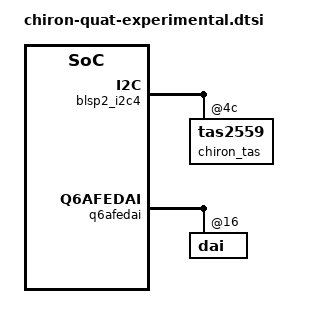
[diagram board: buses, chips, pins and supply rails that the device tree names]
// SPDX-License-Identifier: GPL-2.0-only
/* Speaker link (QUAT MI2S -> TAS2559/TAS2560), appended to the Chiron DTS by
 * scripts/build_kernel.sh since 2026-11-01 (playback, seeking and the volume
 * keys checked on the phone). It needs the TAS playback component
 * (kernel/tas2559, controlled_playback=1, see overlay/etc/modprobe.d): the
 * programming-only diagnostic publishes none, and with that driver this
 * fragment would defer the whole sound card.
 */
&tlmm {
	chiron_quat_mi2s: chiron-quat-mi2s-state {
		pins = "gpio58", "gpio59", "gpio60";
		function = "qua_mi2s";
		drive-strength = <8>;
		bias-disable;
	};
};

&blsp2_i2c4 {
	chiron_tas: tas2559@4c {
		#sound-dai-cells = <0>;
	};
};

&q6afedai {
	dai@16 {
		reg = <QUATERNARY_MI2S_RX>;
		/* Mainline takes line indices, not the stock driver's bitmask. */
		qcom,sd-lines = <0>;
	};
};

&sound {
	pinctrl-names = "default";
	pinctrl-0 = <&chiron_quat_mi2s>;

	quat-mi2s-dai-link {
		link-name = "Quaternary MI2S";
		cpu { sound-dai = <&q6afedai QUATERNARY_MI2S_RX>; };
		platform { sound-dai = <&q6routing>; };
		codec { sound-dai = <&chiron_tas>; };
	};
};
